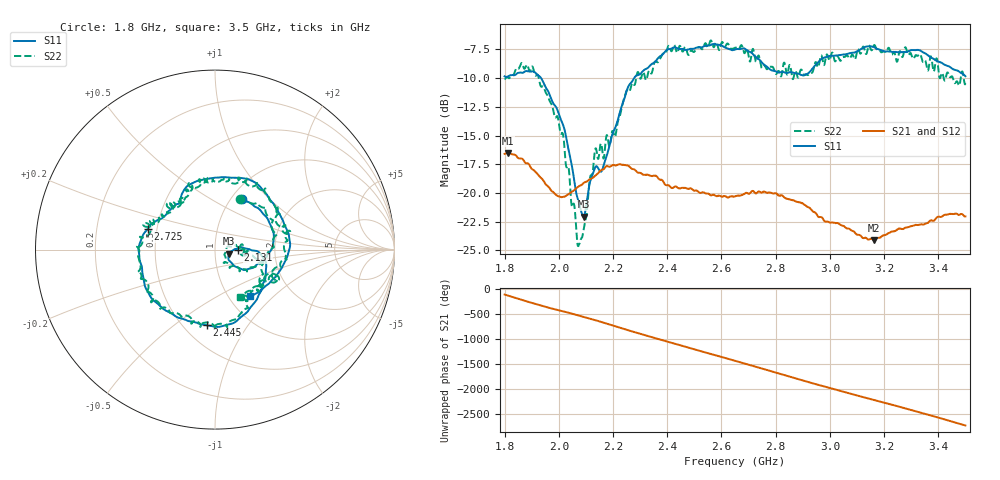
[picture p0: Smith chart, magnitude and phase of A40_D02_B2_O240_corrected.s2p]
! Created with skrf 1.9.0 (http://scikit-rf.org).
# Hz S RI R 50.0
!freq ReS11 ImS11 ReS21 ImS21 ReS12 ImS12 ReS22 ImS22
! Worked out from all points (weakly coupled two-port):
!   1601 points, 1.8 GHz to 3.5 GHz, reference 50 ohm
!   highest |S21| = -16.51 dB at 1.812 GHz (marker M1); lowest = -24.1 dB at 3.162 GHz (marker M2)
!   lowest |S11| = -22.1 dB at 2.091 GHz (marker M3), VSWR 1.17, Z = 58.1 - j2.65 ohm
!   |S11| at or under -10 dB: 1.935 GHz to 2.278 GHz (342.7 MHz wide, 16.3 % of centre)
!   |S22| runs from -24.6 to -6.7 dB; largest |S21 - S12| = 0.0026
!   S11 on the Smith chart (normalised r, x): 1.8 GHz: 1.12, +0.71; 2.131 GHz: 1.29, -0.01; 2.445 GHz: 0.65, -0.67; 2.725 GHz: 0.44, +0.12; 3.5 GHz: 1.25, -0.72
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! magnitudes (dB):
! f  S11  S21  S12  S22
! 1.8 GHz  -9.8  -16.6  -16.6  -10.1
! 1.812 GHz  -9.9  -16.5  -16.5  -9.9
! 1.901 GHz  -9.4  -17.9  -17.8  -9.0
! 1.966 GHz  -11.4  -19.6  -19.6  -12.0
! 2.02 GHz  -14.4  -20.3  -20.3  -15.8
! 2.07 GHz  -20.5  -19.5  -19.5  -24.6
! 2.084 GHz  -21.7  -19.3  -19.2  -23.9
! 2.091 GHz  -22.1  -19.1  -19.2  -23.2
! 2.131 GHz  -17.9  -18.6  -18.5  -16.6
! 2.163 GHz  -17.8  -17.9  -17.9  -16.9
! 2.21 GHz  -14.2  -17.6  -17.5  -14.9
! 2.26 GHz  -10.6  -17.7  -17.7  -11.2
! 2.367 GHz  -8.2  -18.7  -18.7  -8.6
! 2.445 GHz  -7.5  -19.6  -19.6  -7.2
! 2.65 GHz  -7.5  -20.3  -20.3  -7.4
! 2.725 GHz  -8.1  -20.0  -20.0  -8.5
! 2.808 GHz  -9.5  -20.2  -20.1  -9.4
! 2.934 GHz  -9.2  -21.5  -21.5  -9.5
! 3.162 GHz  -7.3  -24.1  -24.0  -7.2
! 3.217 GHz  -7.7  -23.5  -23.5  -7.4
! 3.33 GHz  -7.6  -22.8  -22.7  -7.9
! 3.5 GHz  -9.8  -22.0  -22.0  -10.5
